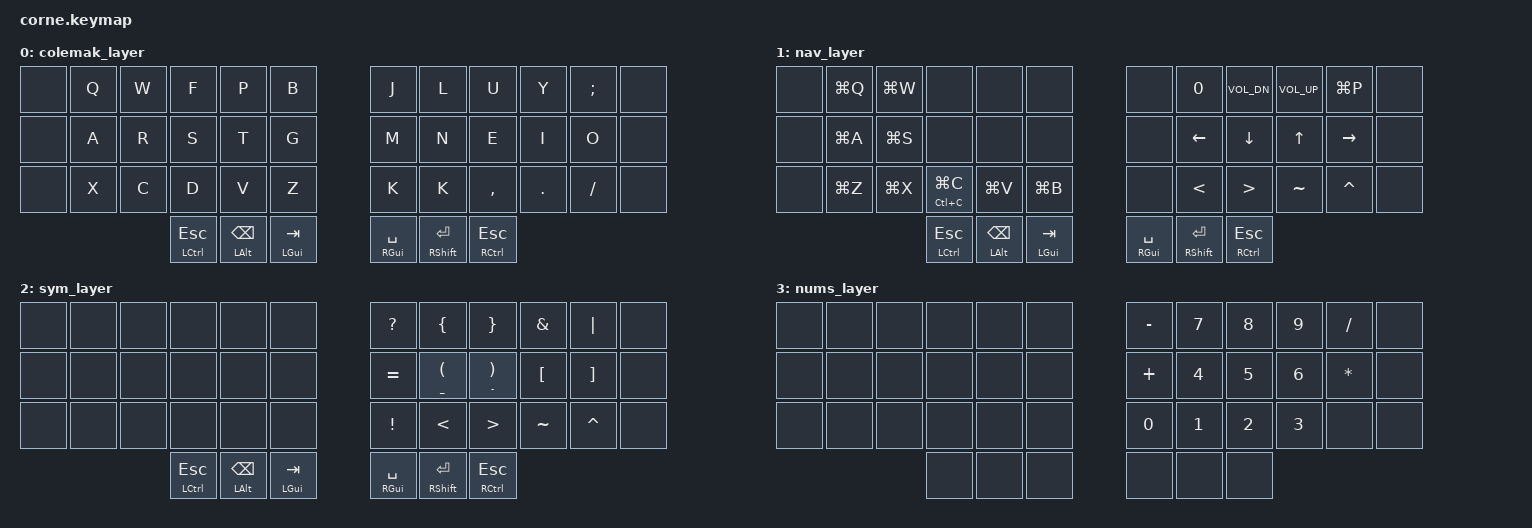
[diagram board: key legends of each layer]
/*
* Copyright (c) 2020 The ZMK Contributors
*
* SPDX-License-Identifier: MIT
*/

#include <behaviors.dtsi>
#include <dt-bindings/zmk/bt.h>
#include <dt-bindings/zmk/keys.h>

#define COL 0
#define NAV 1
#define SYM 2
#define NUM 3

// Controls Alias
#define CL2 &mt LCTRL ESC
#define CL1 &mt LALT  BACKSPACE
#define CL0 &mt LGUI  TAB

#define CR0 &mt RGUI        SPACE
#define CR1 &mt RIGHT_SHIFT RETURN
#define CR2 &mt RCTRL       ESC

// Arrow keys
#define LTAW &kp LEFT_ARROW
#define DNAW &kp DOWN_ARROW
#define UPAW &kp UP_ARROW
#define RTAW &kp RIGHT_ARROW

&mt {
    tapping-term-ms = <400>;
    quick-tap-ms = <175>;
    require-prior-idle-ms = <150>;
    flavor = "balanced";
};

&lt {
    tapping-term-ms = <400>;
};

/ {
    combos {
        compatible = "zmk,combos";

        toggle_colemak {
            timeout-ms = <50>;
            bindings = <&tog COL>;
            key-positions = <14 15>;
        };

        toggle_nav {
            timeout-ms = <50>;
            bindings = <&tog NAV>;
            key-positions = <15 16>;
        };

        toggle_sym {
            timeout-ms = <50>;
            bindings = <&mo SYM>;
            key-positions = <3 4>;
        };

        toggle_nums {
            timeout-ms = <50>;
            bindings = <&mo NUM>;
            key-positions = <2 3>;
        };
    };

    conditional_layers {
        compatible = "zmk,conditional-layers";
    };

    keymap {
        compatible = "zmk,keymap";

        colemak_layer {
            bindings = <
            &none               &kp Q               &kp W                       &kp F                   &kp P                   &kp B               &kp J   &kp L   &kp U       &kp Y       &kp SEMICOLON   &none
            &none               &kp A               &kp R                       &kp S                   &kp T                   &kp G               &kp M   &kp N   &kp E       &kp I       &kp O           &none
            &none               &kp X               &kp C                       &kp D                   &kp V                   &kp Z               &kp K   &kp K   &kp COMMA   &kp DOT     &kp FSLH        &none
            CL2                 CL1                 CL0                         CR0                     CR1                     CR2
            >;
        };

        nav_layer {
            bindings = <
            &none                   &kp LG(Q)           &kp LG(W)                   &none                   &none                   &none           &none       &kp N0  &kp C_VOL_DN    &kp C_VOL_UP        &kp LG(P)   &none
            &none                   &kp LG(A)           &kp LG(S)                   &none                   &none                   &none           &none       LTAW    DNAW            UPAW                RTAW        &none
            &none                   &kp LG(Z)           &kp LG(X)                   &mt LC(C) LG(C)         &kp LG(V)               &kp LG(B)       &none       &kp LT  &kp GT          &kp TILDE           &kp CARET   &none
            CL2                     CL1                 CL0                         CR0                     CR1                     CR2
            >;
        };

        sym_layer {
            bindings = <
            &none       &none       &none       &none       &none       &none       &kp QMARK       &kp LBRC        &kp RBRC        &kp AMPS        &kp PIPE        &none
            &none       &none       &none       &none       &none       &none       &kp EQUAL       &mt UNDER LPAR  &mt MINUS RPAR  &kp LBKT        &kp RBKT        &none
            &none       &none       &none       &none       &none       &none       &kp EXCL        &kp LT          &kp GT          &kp TILDE       &kp CARET       &none
            CL2         CL1         CL0         CR0         CR1         CR2
            >;
        };

        nums_layer {
            bindings = <
            &none       &none       &none       &none       &none       &none       &kp MINUS       &kp N7       &kp N8       &kp N9       &kp SLASH    &none
            &none       &none       &none       &none       &none       &none       &kp PLUS        &kp N4       &kp N5       &kp N6       &kp STAR     &none
            &none       &none       &none       &none       &none       &none       &kp N0          &kp N1       &kp N2       &kp N3       &none        &none
            &none       &none       &none       &none       &none       &none
            >;
        };

        // blank_layer {
        //     bindings = <
        //     &none       &none       &none       &none       &none       &none       &none       &none       &none       &none       &none       &none
        //     &none       &none       &none       &none       &none       &none       &none       &none       &none       &none       &none       &none
        //     &none       &none       &none       &none       &none       &none       &none       &none       &none       &none       &none       &none
        //     &none       &none       &none       &none       &none       &none
        //     >;
        // };

         // blank_layer {
        //     bindings = <
        //     &none       &none       &none       &none       &none       &none       &none       &none       &none       &none       &none       &none
        //     &none       &none       &none       &none       &none       &none       &none       &none       &none       &none       &none       &none
        //     &none       &none       &none       &none       &none       &none       &none       &none       &none       &none       &none       &none
        //     &none       &none       &none       &none       &none       &none
        //     >;
        // };

         // blank_layer {
        //     bindings = <
        //     &none       &none       &none       &none       &none       &none       &none       &none       &none       &none       &none       &none
        //     &none       &none       &none       &none       &none       &none       &none       &none       &none       &none       &none       &none
        //     &none       &none       &none       &none       &none       &none       &none       &none       &none       &none       &none       &none
        //     &none       &none       &none       &none       &none       &none
        //     >;
        // };

        // media_layer {
        //     bindings = <
        //     &none  &kp SPACE  &kp UP_ARROW     &kp ENTER       &kp PAGE_UP    &kp C_VOL_UP    &kp C_BRIGHTNESS_INC  &kp F1  &kp F4  &kp F7  &kp F10  &none
        //     &none  &kp LEFT   &kp DOWN         &kp RIGHT       &kp HOME       &kp C_MUTE      &kp C_PLAY_PAUSE      &kp F2  &kp F5  &kp F8  &kp F11  &none
        //     &none  &kp INS    &kp PRINTSCREEN  &kp SCROLLLOCK  &kp PAGE_DOWN  &kp C_VOL_DN    &kp C_BRIGHTNESS_DEC  &kp F3  &kp F6  &kp F9  &kp F12  &none
        //     &none           &none          &none           &none                 &none   &none
        //     >;
        // };

        // bt_layer {
        //     bindings = <
        //     &none  &bt BT_CLR    &bt BT_CLR_ALL  &bt BT_PRV    &bt BT_NXT    &none           &none   &none  &none  &none  &none  &none
        //     &none  &bt BT_SEL 0  &bt BT_SEL 1    &bt BT_SEL 2  &bt BT_SEL 3  &bt BT_SEL 4    &none   &none  &none  &none  &none  &none
        //     &none  &bootloader   &sys_reset      &none         &none         &none           &none   &none  &none  &none  &none  &none
        //     &none  &none         &none           &none         &none         &none
        //     >;
        // };
    };
};
